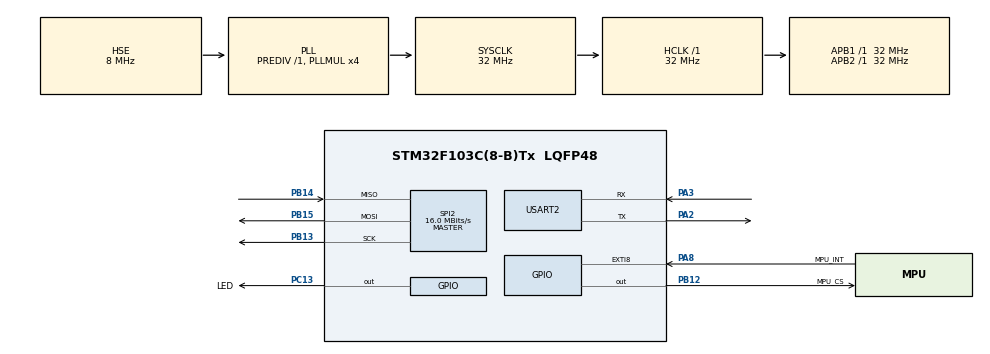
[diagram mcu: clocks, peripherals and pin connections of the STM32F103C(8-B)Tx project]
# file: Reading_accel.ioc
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Mcu.Family=STM32F1
Mcu.Name=STM32F103C(8-B)Tx
Mcu.Package=LQFP48
NVIC.EXTI9_5_IRQn=true\:0\:0\:false\:true\:true\:1\:true\:true
NVIC.PriorityGroup=NVIC_PRIORITYGROUP_4
PA13.Mode=Serial_Wire
PA13.Signal=SYS_JTMS-SWDIO
PA14.Mode=Serial_Wire
PA14.Signal=SYS_JTCK-SWCLK
PA2.Mode=Asynchronous
PA2.Signal=USART2_TX
PA3.Mode=Asynchronous
PA3.Signal=USART2_RX
PA8.GPIO_Label=MPU_INT
PA8.GPIO_PuPd=GPIO_PULLDOWN
PA8.Signal=GPXTI8
PB12.GPIO_Label=MPU_CS
PB12.Signal=GPIO_Output
PB13.Mode=Full_Duplex_Master
PB13.Signal=SPI2_SCK
PB14.Mode=Full_Duplex_Master
PB14.Signal=SPI2_MISO
PB15.Mode=Full_Duplex_Master
PB15.Signal=SPI2_MOSI
PC13-TAMPER-RTC.GPIO_Label=LED
PC13-TAMPER-RTC.Signal=GPIO_Output
PD0-OSC_IN.Mode=HSE-External-Oscillator
PD0-OSC_IN.Signal=RCC_OSC_IN
PD1-OSC_OUT.Mode=HSE-External-Oscillator
PD1-OSC_OUT.Signal=RCC_OSC_OUT
ProjectManager.HeapSize=0x200
ProjectManager.StackSize=0x400
ProjectManager.TargetToolchain=STM32CubeIDE
RCC.AHBFreq_Value=32000000
RCC.APB1Freq_Value=32000000
RCC.APB1TimFreq_Value=32000000
RCC.APB2Freq_Value=32000000
RCC.APB2TimFreq_Value=32000000
RCC.HCLKFreq_Value=32000000
RCC.PLLMUL=RCC_PLL_MUL4
RCC.PLLSourceVirtual=RCC_PLLSOURCE_HSE
RCC.SYSCLKFreq_VALUE=32000000
RCC.SYSCLKSource=RCC_SYSCLKSOURCE_PLLCLK
RCC.USBFreq_Value=32000000
SPI2.CalculateBaudRate=16.0 MBits/s
SPI2.Direction=SPI_DIRECTION_2LINES
SPI2.Mode=SPI_MODE_MASTER
SPI2.VirtualType=VM_MASTER
USART2.VirtualMode=VM_ASYNC
board=custom

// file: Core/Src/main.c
/* USER CODE BEGIN Header */
/**
  ******************************************************************************
  * @file           : main.c
  * @brief          : Main program body
  ******************************************************************************
  * @attention
  *
  * <h2><center>&copy; Copyright (c) 2021 STMicroelectronics.
  * All rights reserved.</center></h2>
  *
  * This software component is licensed by ST under BSD 3-Clause license,
  * the "License"; You may not use this file except in compliance with the
  * License. You may obtain a copy of the License at:
  *                        opensource.org/licenses/BSD-3-Clause
  *
  ******************************************************************************
  */
/* USER CODE END Header */
#include "main.h"
#include "spi.h"
#include "usart.h"
#include "gpio.h"

/* USER CODE BEGIN Includes */
#include <stdio.h>
#include <string.h>
/* USER CODE END Includes */

/* USER CODE BEGIN PV */
uint8_t buffer[2048] = {0};
float buffer_float[1024] = {0};
volatile uint16_t tap = 0;
/* USER CODE END PV */

void SystemClock_Config(void);
static void MX_NVIC_Init(void);

/* USER CODE BEGIN 0 */
volatile uint8_t wait = 0;
/* USER CODE END 0 */

int main(void)
{

  /* MCU Configuration--------------------------------------------------------*/

  /* Reset of all peripherals, Initializes the Flash interface and the Systick. */
  HAL_Init();

  /* Configure the system clock */
  SystemClock_Config();

  /* Initialize all configured peripherals */
  MX_GPIO_Init();
  MX_USART2_UART_Init();
  MX_SPI2_Init();

  /* Initialize interrupts */
  MX_NVIC_Init();
  /* USER CODE BEGIN 2 */
    MPU9250_intance_init();
  //MPU9250_Config_fifo_int(&MPU9250);
  MPU9250_Config_accel_scale(&MPU9250);
  MPU9250_Write_Register(&MPU9250, MPU9250_PWR_MGMT_2, 0x37);
  //MPU9250_Write_Register(&MPU9250, MPU9250_INT_ENABLE, 0x01);
  char message[64];

//	 uint8_t data = 0;
//	 uint8_t reg = MPU9250_INT_PIN_CFG | 0x80;
//	 uint8_t dummy = 0;
//	 HAL_GPIO_WritePin(MPU_CS_GPIO_Port, MPU_CS_Pin, GPIO_PIN_RESET);
//	 HAL_SPI_TransmitReceive(&hspi2, &reg, &dummy, 1, 10);
//	 HAL_SPI_TransmitReceive(&hspi2, &dummy, &data, 1, 10);
//	 HAL_GPIO_WritePin(MPU_CS_GPIO_Port, MPU_CS_Pin, GPIO_PIN_SET);
//	 sprintf(message,"int_conf = %x\n\r", data);
//	 HAL_UART_Transmit(&huart2, (uint8_t *)message, strlen(message), 100);
  sprintf(message,"Hello\n\r");
  HAL_UART_Transmit(&huart2, (uint8_t *)message, strlen(message), 100);
  //HAL_Delay(1000);
  /* USER CODE END 2 */

  /* Infinite loop */
  /* USER CODE BEGIN WHILE */
  while (1)
  {
//	 MPU9250_Write_Register(&MPU9250, MPU9250_PWR_MGMT_1, 0x80);
//	 HAL_Delay(2);
//	 MPU9250_Write_Register(&MPU9250, MPU9250_PWR_MGMT_1, 0x01);
//	 MPU9250_Write_Register(&MPU9250, MPU9250_PWR_MGMT_2, 0x37);
//	 //HAL_Delay(200);
//	 MPU9250_Write_Register(&MPU9250, MPU9250_INT_PIN_CFG, 0x10);
//	 MPU9250_Write_Register(&MPU9250, MPU9250_INT_ENABLE, 0x01);
//	 MPU9250_Write_Register(&MPU9250, MPU9250_FIFO_EN, 0x00);
//	 MPU9250_Write_Register(&MPU9250, MPU9250_PWR_MGMT_1, 0x00);
//	 MPU9250_Write_Register(&MPU9250, MPU9250_I2C_MST_CTRL, 0x00);
//	 MPU9250_Write_Register(&MPU9250, MPU9250_USER_CTRL, 0x00);
//	 MPU9250_Write_Register(&MPU9250, MPU9250_USER_CTRL, 0x0C);
//	 HAL_Delay(15);
//	 MPU9250_Write_Register(&MPU9250, MPU9250_CONFIG_REG, 0x00);
//	 MPU9250_Write_Register(&MPU9250, MPU9250_SMPLRT_DIV, 0x00);
//	 MPU9250_Write_Register(&MPU9250, MPU9250_GYRO_CONFIG, 0x00);
//	 MPU9250_Write_Register(&MPU9250, MPU9250_ACCEL_CONFIG, 0x00);
//	 MPU9250_Write_Register(&MPU9250, MPU9250_USER_CTRL, 0x40);
	  memset(buffer, 0, sizeof(buffer));
	  HAL_GPIO_WritePin(LED_GPIO_Port, LED_Pin, 1);
	  MPU9250_Write_Register(&MPU9250, MPU9250_INT_ENABLE, 0x01);
	  wait = 0; tap = 0;
	  while(wait == 0);
	  for(int i = 0; i < 1024; i++)
	  {
		  int16_t v = (uint16_t)(buffer[2*i] << 8) | buffer[(2*i)+1];
		  buffer_float[i] = (float)v/2048.0;
	  }
	  sprintf(message,"S, ");
	  HAL_UART_Transmit(&huart2, (uint8_t*)message, strlen(message),100);
	  for(int i = 0; i < 1024; i++)
	  {
	  		  sprintf(message,"%.2f, ",buffer_float[i]);
	  		  HAL_UART_Transmit(&huart2, (uint8_t*)message, strlen(message),100);
	  }
	  sprintf(message,"\n\r");
	  HAL_UART_Transmit(&huart2, (uint8_t*)message, strlen(message),100);
    /* USER CODE END WHILE */

  }
}

void SystemClock_Config(void)
{
  RCC_OscInitTypeDef RCC_OscInitStruct = {0};
  RCC_ClkInitTypeDef RCC_ClkInitStruct = {0};

  /** Initializes the RCC Oscillators according to the specified parameters
  * in the RCC_OscInitTypeDef structure.
  */
  RCC_OscInitStruct.OscillatorType = RCC_OSCILLATORTYPE_HSE;
  RCC_OscInitStruct.HSEState = RCC_HSE_ON;
  RCC_OscInitStruct.HSEPredivValue = RCC_HSE_PREDIV_DIV1;
  RCC_OscInitStruct.HSIState = RCC_HSI_ON;
  RCC_OscInitStruct.PLL.PLLState = RCC_PLL_ON;
  RCC_OscInitStruct.PLL.PLLSource = RCC_PLLSOURCE_HSE;
  RCC_OscInitStruct.PLL.PLLMUL = RCC_PLL_MUL4;
  if (HAL_RCC_OscConfig(&RCC_OscInitStruct) != HAL_OK)
  {
    Error_Handler();
  }
  /** Initializes the CPU, AHB and APB buses clocks
  */
  RCC_ClkInitStruct.ClockType = RCC_CLOCKTYPE_HCLK|RCC_CLOCKTYPE_SYSCLK
                              |RCC_CLOCKTYPE_PCLK1|RCC_CLOCKTYPE_PCLK2;
  RCC_ClkInitStruct.SYSCLKSource = RCC_SYSCLKSOURCE_PLLCLK;
  RCC_ClkInitStruct.AHBCLKDivider = RCC_SYSCLK_DIV1;
  RCC_ClkInitStruct.APB1CLKDivider = RCC_HCLK_DIV1;
  RCC_ClkInitStruct.APB2CLKDivider = RCC_HCLK_DIV1;

  if (HAL_RCC_ClockConfig(&RCC_ClkInitStruct, FLASH_LATENCY_1) != HAL_OK)
  {
    Error_Handler();
  }
}

/**
  * @brief NVIC Configuration.
  * @retval None
  */
static void MX_NVIC_Init(void)
{
  /* EXTI9_5_IRQn interrupt configuration */
  HAL_NVIC_SetPriority(EXTI9_5_IRQn, 0, 0);
  HAL_NVIC_EnableIRQ(EXTI9_5_IRQn);
}

/* USER CODE BEGIN 4 */
void MPU9250_intance_init(void)
{
	MPU9250.hspi = &hspi2;
	MPU9250.GPIOx = MPU_CS_GPIO_Port;
	MPU9250.GPIO_PIN = MPU_CS_Pin;
	MPU9250.ACCEL_SCALE = ACCEL_SCALE_16G;
	MPU9250.ARES = 1.0/16384.0;
	//MPU9250_Initialize(&MPU9250);
}

void HAL_GPIO_EXTI_Callback(uint16_t GPIO_Pin)
{
	 MPU9250_Read_Data_Registers(&MPU9250, MPU9250_ACCEL_ZOUT_H, 2, &buffer[2*tap]);
	 tap++;
	 if(tap == 1024)
	 {
	 	 wait = 1;
	 	MPU9250_Write_Register(&MPU9250, MPU9250_INT_ENABLE, 0x00);
		HAL_GPIO_WritePin(LED_GPIO_Port, LED_Pin, 0);
	 }
}

/* USER CODE END 4 */

void Error_Handler(void)
{
  __disable_irq();
  while (1)
  {
  }
}

/************************ (C) COPYRIGHT STMicroelectronics *****END OF FILE****/
